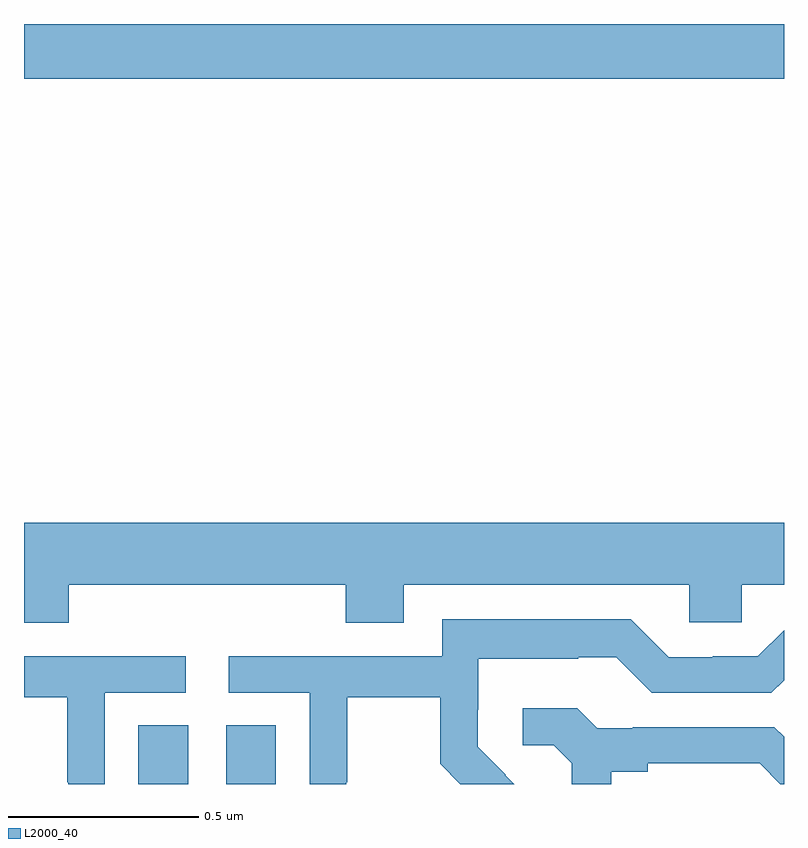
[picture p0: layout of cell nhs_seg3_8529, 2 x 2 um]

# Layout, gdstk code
import gdstk
lib = gdstk.Library(unit=1e-6, precision=1e-09)
def R(c, l, rs):  # rectangles x0, y0, x1, y1
    for r in rs: c.add(gdstk.rectangle(r[:2], r[2:], *l))
def P(c, l, *ps):  # polygons
    for p in ps: c.add(gdstk.Polygon(p, *l))
L2000_40 = (2000, 40)

nhs_seg3_8529 = lib.new_cell('nhs_seg3_8529')
R(nhs_seg3_8529, L2000_40, [(217.301,692.4,217.432,692.555), (217.532,692.4,217.663,692.555), (217,694.256,219,694.4)])
P(nhs_seg3_8529, L2000_40, [(217.118,692.924),(217.847,692.924),(217.847,692.825),(217.999,692.825),(217.999,692.924),(218.751,692.924),(218.751,692.826),(218.889,692.826),(218.889,692.924),(219,692.924),(219,693.088),(217,693.088),(217,692.825),(217.118,692.825)],
  [(217.848,692.404),(217.851,692.404),(217.851,692.628),(218.095,692.628),(218.095,692.453),(218.148,692.4),(218.29,692.4),(218.267,692.423),(218.268,692.424),(218.194,692.498),(218.194,692.595),(218.196,692.595),(218.196,692.729),(218.459,692.729),(218.459,692.733),(218.559,692.733),(218.652,692.64),(218.967,692.64),(219,692.673),(219,692.805),(218.931,692.736),(218.813,692.736),(218.813,692.733),(218.697,692.733),(218.597,692.833),(218.1,692.833),(218.1,692.736),(217.539,692.736),(217.539,692.64),(217.752,692.64),(217.752,692.4),(217.848,692.4)],
  [(217.212,692.64),(217.426,692.64),(217.426,692.736),(217,692.736),(217,692.628),(217.114,692.628),(217.114,692.404),(217.116,692.404),(217.116,692.4),(217.212,692.4)],
  [(218.545,692.432),(218.641,692.432),(218.641,692.454),(218.936,692.454),(218.99,692.4),(219,692.4),(219,692.524),(218.974,692.55),(218.602,692.55),(218.602,692.547),(218.508,692.547),(218.456,692.599),(218.313,692.599),(218.313,692.502),(218.394,692.502),(218.441,692.455),(218.441,692.4),(218.545,692.4)])

lib.write_gds('nhs_seg3_8529.gds')
